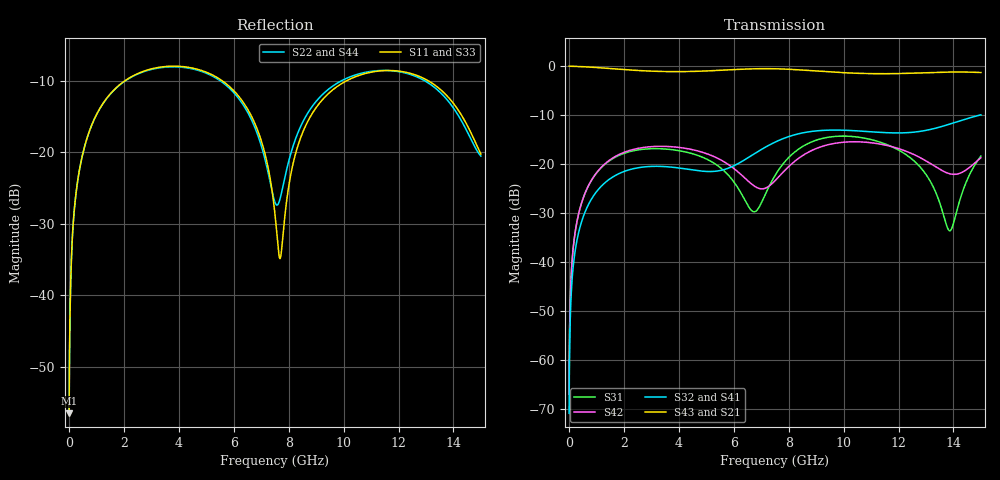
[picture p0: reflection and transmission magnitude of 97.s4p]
! Created with skrf 1.8.0 (http://scikit-rf.org).
# GHz S RI R 50.0
!freq ReS11 ImS11 ReS12 ImS12 ReS13 ImS13
! ReS14 ImS14
! ReS21 ImS21 ReS22 ImS22 ReS23 ImS23
! ReS24 ImS24
! ReS31 ImS31 ReS32 ImS32 ReS33 ImS33
! ReS34 ImS34
! ReS41 ImS41 ReS42 ImS42 ReS43 ImS43
! ReS44 ImS44
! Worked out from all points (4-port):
!   2499 points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, 5 MHz to 15 GHz, reference 50 ohm
!   strongest paths, dB at 5 MHz, 3.476 GHz, 7.19 GHz, 11.1 GHz, 15 GHz:
!     S43: 0.0, -1.1, -0.5, -1.5, -1.3
!     S21: 0.0, -1.1, -0.5, -1.5, -1.3
!     S32: -70.8, -20.5, -16.4, -13.4, -9.9
!     S41: -70.8, -20.5, -16.4, -13.5, -10.0
!     S42: -66.9, -16.4, -24.8, -15.7, -18.7
!     S31: -66.9, -16.9, -25.7, -15.1, -18.4
!   lowest |S11| = -56.5 dB at 5 MHz (marker M1), VSWR 1.00, Z = 50.1 + j0.0905 ohm
!   |S11| at or under -10 dB: start of sweep to 2.036 GHz; 5.581 GHz to 10.11 GHz (4.526 GHz wide, 57.7 % of centre); 13.08 GHz to end of sweep
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0.005  0.00118 0.000903  0.9988 -0.00231  5.73e-05 0.000446  -5.59e-05 -0.000282
       0.9988 -0.00231  0.00118 0.000903  -5.59e-05 -0.000282  5.75e-05 0.000446
       5.73e-05 0.000446  -5.59e-05 -0.000282  0.00118 0.000903  0.9988 -0.00231
       -5.59e-05 -0.000282  5.75e-05 0.000446  0.9988 -0.00231  0.00118 0.000903
0.4126719  0.0211 0.0782  0.971 -0.1889  0.00904 0.0352  -0.00789 -0.022
           0.971 -0.1889  0.021 0.0782  -0.00789 -0.022  0.00987 0.035
           0.00904 0.0352  -0.00789 -0.022  0.0211 0.0782  0.971 -0.1889
           -0.00789 -0.022  0.00987 0.035  0.971 -0.1889  0.021 0.0782
2.175907  0.2759 0.1796  0.5431 -0.7363  0.1166 0.0648  -0.0871 -0.00541
          0.5431 -0.7363  0.272 0.1823  -0.0872 -0.00528  0.1283 0.0486
          0.1166 0.0648  -0.0872 -0.00528  0.2758 0.1797  0.5432 -0.7363
          -0.0871 -0.00541  0.1283 0.0486  0.5432 -0.7363  0.272 0.1823
7.590663  0.0174 -0.017  -0.9365 -0.0621  0.0457 0.0703  -0.00901 0.1719
          -0.9365 -0.0621  0.0427 0.000977  -0.00689 0.172  -0.0422 0.0582
          0.0457 0.0703  -0.00689 0.172  0.017 -0.0169  -0.9365 -0.0624
          -0.00901 0.1719  -0.0422 0.0582  -0.9365 -0.0624  0.0428 0.00132
10.38558  0.3106 0.1255  -0.4098 0.7407  0.1906 -0.00732  0.2138 0.0448
          -0.4098 0.7407  0.3275 0.1095  0.2156 0.0416  0.1687 0.0134
          0.1906 -0.00732  0.2156 0.0416  0.3077 0.1257  -0.411 0.7408
          0.2138 0.0448  0.1687 0.0134  -0.411 0.7408  0.3267 0.1086
13.86203  0.1748 -0.1596  0.6467 0.5794  -0.0193 -0.00806  0.169 -0.1922
          0.6467 0.5794  0.1686 -0.1436  0.1646 -0.1963  -0.0637 -0.0481
          -0.0193 -0.00806  0.1646 -0.1963  0.1694 -0.1562  0.648 0.5801
          0.169 -0.1922  -0.0637 -0.0481  0.648 0.5801  0.1658 -0.1384
15  0.0802 -0.0545  0.8357 0.2025  0.000348 0.1209  0.0765 -0.3085
    0.8357 0.2025  0.0893 -0.0294  0.07 -0.3107  -0.0625 0.098
    0.000348 0.1209  0.07 -0.3107  0.0746 -0.0493  0.8363 0.2019
    0.0765 -0.3085  -0.0625 0.098  0.8363 0.2019  0.091 -0.0211
